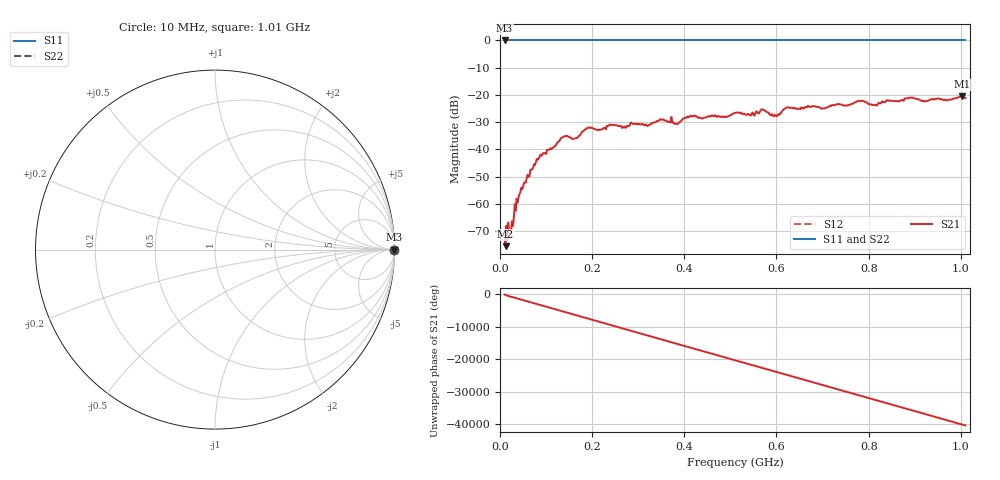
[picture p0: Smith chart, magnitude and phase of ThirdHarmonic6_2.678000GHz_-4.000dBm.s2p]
! 8/17/2025 6:16:27 AM
! C:\ANRITSUVNA\TEMP\TEMP.S2P
! CHANNEL.1
! TR.MEASUREMENT
! RAW.DATA
! RF.CORRECTION.OFF
! AVERAGING.OFF
! IF.BANDWIDTH: 5KHZ
! SWEEPTYPE:  FREQ.SWEEP(Linear)
! Reference Plane Port Info
! PORT:  PORT1  PORT2
! DISTANCE:  0  m  0  m
! TIME:  0  s  0  s
! PHASE.OFFSET:  0  deg.  0  deg.
! LOSS:  0  dB  0  dB
! REF.LOSS:  0  dB  0  dB
! REF.FREQ:  0  Hz  0  Hz
! Power Info
! POWER:  -20  dBm  -20  dBm
! EFF.POWER:  -20  dBm  -20  dBm
! SOURCE.ATTEN:  0  dB  0  dB
! TEST.ATTEN:  0  dB  0  dB
# GHZ S RI R 50.0
! FREQ.GHZ  S11RE  S11IM  S21RE  S21IM  S12RE  S12IM  S22RE  S22IM
!; PortSelection: Port_12
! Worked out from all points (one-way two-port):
!   501 points, 10 MHz to 1.01 GHz, reference 50 ohm
!   highest |S21| = -20.49 dB at 1.002 GHz (marker M1); lowest = -75.5 dB at 12 MHz (marker M2)
!   lowest |S11| = 0.0 dB at 10 MHz (marker M3)
!   |S11| at or under -10 dB: nowhere
!   |S22| runs from 0.0 to 0.0 dB; largest |S21 - S12| = 1.1
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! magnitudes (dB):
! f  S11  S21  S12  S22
! 10 MHz  0.0  -72.5  0.0  0.0
! 12 MHz  0.0  -75.5  0.0  0.0
! 24 MHz  0.0  -70.1  0.0  0.0
! 36 MHz  0.0  -58.1  0.0  0.0
! 44 MHz  0.0  -55.8  0.0  0.0
! 84 MHz  0.0  -43.3  0.0  0.0
! 136 MHz  0.0  -35.6  0.0  0.0
! 164 MHz  0.0  -35.9  0.0  0.0
! 178 MHz  0.0  -33.5  0.0  0.0
! 194 MHz  0.0  -31.9  0.0  0.0
! 322 MHz  0.0  -31.1  0.0  0.0
! 344 MHz  0.0  -29.5  0.0  0.0
! 382 MHz  0.0  -30.6  0.0  0.0
! 410 MHz  0.0  -28.2  0.0  0.0
! 510 MHz  0.0  -26.6  0.0  0.0
! 570 MHz  0.0  -25.3  0.0  0.0
! 598 MHz  0.0  -27.5  0.0  0.0
! 622 MHz  0.0  -24.6  0.0  0.0
! 678 MHz  0.0  -24.2  0.0  0.0
! 844 MHz  0.0  -22.1  0.0  0.0
! 1.002 GHz  0.0  -20.5  0.0  0.0
! 1.01 GHz  0.0  -21.1  0.0  0.0
